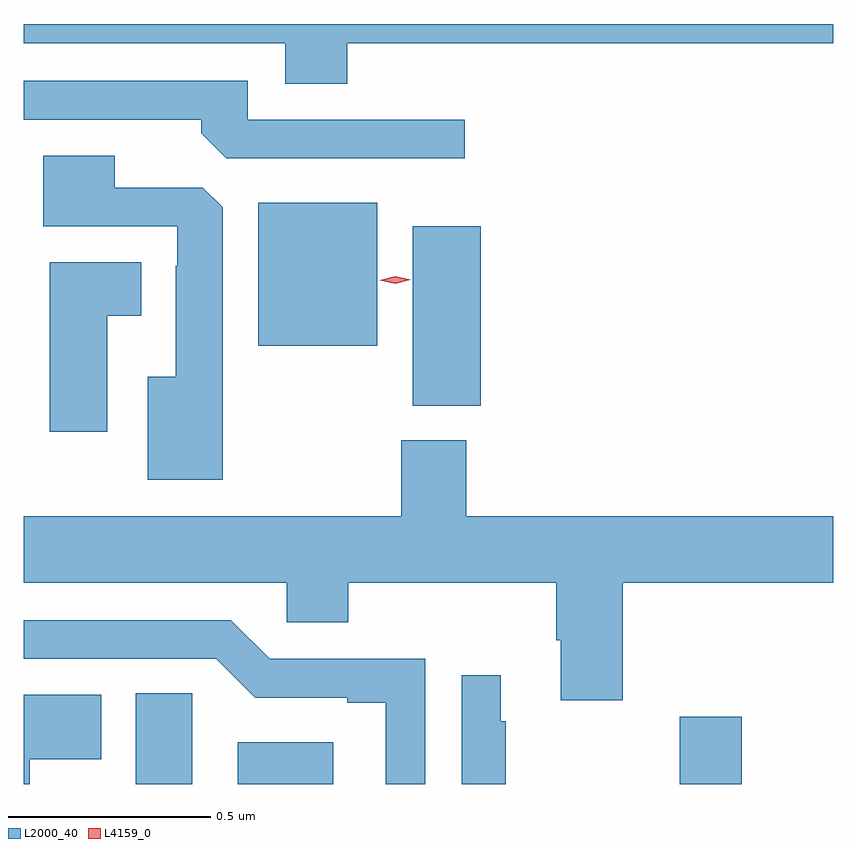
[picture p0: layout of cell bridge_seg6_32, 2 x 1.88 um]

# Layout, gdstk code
import gdstk
lib = gdstk.Library(unit=1e-6, precision=1e-09)
def R(c, l, rs):  # rectangles x0, y0, x1, y1
    for r in rs: c.add(gdstk.rectangle(r[:2], r[2:], *l))
def P(c, l, *ps):  # polygons
    for p in ps: c.add(gdstk.Polygon(p, *l))
L2000_40 = (2000, 40)
L4159_0 = (4159, 0)

bridge_seg6_32 = lib.new_cell('bridge_seg6_32')
R(bridge_seg6_32, L2000_40, [(1095.098,996.123,1095.334,996.226), (1096.189,996.123,1096.343,996.289), (1095.53,997.057,1095.698,997.501), (1095.149,997.205,1095.442,997.558)])
P(bridge_seg6_32, L2000_40, [(1095.368,997.952),(1096.569,997.952),(1096.569,998),(1094.569,998),(1094.569,997.952),(1095.215,997.952),(1095.215,997.853),(1095.368,997.853)],
  [(1095.658,997.764),(1095.123,997.764),(1095.123,997.86),(1094.569,997.86),(1094.569,997.764),(1095.008,997.764),(1095.008,997.73),(1095.069,997.668),(1095.658,997.668)],
  [(1095.061,997.547),(1095.012,997.596),(1094.794,997.596),(1094.794,997.675),(1094.618,997.675),(1094.618,997.5),(1094.949,997.5),(1094.949,997.403),(1094.945,997.403),(1094.945,997.129),(1094.876,997.129),(1094.876,996.875),(1095.061,996.875)],
  [(1094.776,997.28),(1094.86,997.28),(1094.86,997.411),(1094.633,997.411),(1094.633,996.993),(1094.776,996.993)],
  [(1096.049,996.62),(1096.569,996.62),(1096.569,996.784),(1095.662,996.784),(1095.662,996.972),(1095.502,996.972),(1095.502,996.784),(1094.569,996.784),(1094.569,996.62),(1095.219,996.62),(1095.219,996.522),(1095.371,996.522),(1095.371,996.62),(1095.884,996.62),(1095.884,996.478),(1095.896,996.478),(1095.896,996.33),(1096.049,996.33)],
  [(1095.561,996.432),(1095.177,996.432),(1095.081,996.528),(1094.569,996.528),(1094.569,996.432),(1095.045,996.432),(1095.141,996.336),(1095.368,996.336),(1095.368,996.324),(1095.464,996.324),(1095.464,996.123),(1095.561,996.123)],
  [(1095.76,996.278),(1095.748,996.278),(1095.748,996.391),(1095.651,996.391),(1095.651,996.123),(1095.76,996.123)],
  [(1094.986,996.236),(1094.985,996.236),(1094.985,996.347),(1094.846,996.347),(1094.846,996.123),(1094.986,996.123)],
  [(1094.584,996.184),(1094.761,996.184),(1094.761,996.343),(1094.569,996.343),(1094.569,996.123),(1094.584,996.123)])
P(bridge_seg6_32, L4159_0, [(1095.487,997.358),(1095.449,997.367),(1095.449,997.367),(1095.449,997.367),(1095.487,997.377),(1095.525,997.368),(1095.525,997.368),(1095.525,997.368)])

lib.write_gds('bridge_seg6_32.gds')
